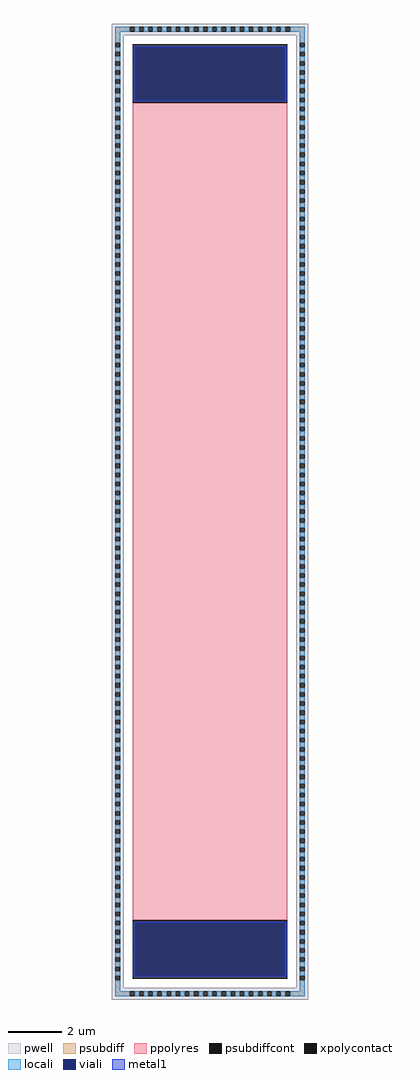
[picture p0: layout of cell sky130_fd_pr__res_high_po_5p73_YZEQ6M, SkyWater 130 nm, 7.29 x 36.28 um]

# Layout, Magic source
magic
tech sky130A
magscale 1 2
<< pwell >>
rect -729 3542 729 3628
rect -729 -3542 -643 3542
rect 643 -3542 729 3542
rect -729 -3628 729 -3542
<< psubdiff >>
rect -703 3568 -595 3602
rect -561 3568 -527 3602
rect -493 3568 -459 3602
rect -425 3568 -391 3602
rect -357 3568 -323 3602
rect -289 3568 -255 3602
rect -221 3568 -187 3602
rect -153 3568 -119 3602
rect -85 3568 -51 3602
rect -17 3568 17 3602
rect 51 3568 85 3602
rect 119 3568 153 3602
rect 187 3568 221 3602
rect 255 3568 289 3602
rect 323 3568 357 3602
rect 391 3568 425 3602
rect 459 3568 493 3602
rect 527 3568 561 3602
rect 595 3568 703 3602
rect -703 3485 -669 3568
rect 669 3485 703 3568
rect -703 3417 -669 3451
rect -703 3349 -669 3383
rect -703 3281 -669 3315
rect -703 3213 -669 3247
rect -703 3145 -669 3179
rect -703 3077 -669 3111
rect -703 3009 -669 3043
rect -703 2941 -669 2975
rect -703 2873 -669 2907
rect -703 2805 -669 2839
rect -703 2737 -669 2771
rect -703 2669 -669 2703
rect -703 2601 -669 2635
rect -703 2533 -669 2567
rect -703 2465 -669 2499
rect -703 2397 -669 2431
rect -703 2329 -669 2363
rect -703 2261 -669 2295
rect -703 2193 -669 2227
rect -703 2125 -669 2159
rect -703 2057 -669 2091
rect -703 1989 -669 2023
rect -703 1921 -669 1955
rect -703 1853 -669 1887
rect -703 1785 -669 1819
rect -703 1717 -669 1751
rect -703 1649 -669 1683
rect -703 1581 -669 1615
rect -703 1513 -669 1547
rect -703 1445 -669 1479
rect -703 1377 -669 1411
rect -703 1309 -669 1343
rect -703 1241 -669 1275
rect -703 1173 -669 1207
rect -703 1105 -669 1139
rect -703 1037 -669 1071
rect -703 969 -669 1003
rect -703 901 -669 935
rect -703 833 -669 867
rect -703 765 -669 799
rect -703 697 -669 731
rect -703 629 -669 663
rect -703 561 -669 595
rect -703 493 -669 527
rect -703 425 -669 459
rect -703 357 -669 391
rect -703 289 -669 323
rect -703 221 -669 255
rect -703 153 -669 187
rect -703 85 -669 119
rect -703 17 -669 51
rect -703 -51 -669 -17
rect -703 -119 -669 -85
rect -703 -187 -669 -153
rect -703 -255 -669 -221
rect -703 -323 -669 -289
rect -703 -391 -669 -357
rect -703 -459 -669 -425
rect -703 -527 -669 -493
rect -703 -595 -669 -561
rect -703 -663 -669 -629
rect -703 -731 -669 -697
rect -703 -799 -669 -765
rect -703 -867 -669 -833
rect -703 -935 -669 -901
rect -703 -1003 -669 -969
rect -703 -1071 -669 -1037
rect -703 -1139 -669 -1105
rect -703 -1207 -669 -1173
rect -703 -1275 -669 -1241
rect -703 -1343 -669 -1309
rect -703 -1411 -669 -1377
rect -703 -1479 -669 -1445
rect -703 -1547 -669 -1513
rect -703 -1615 -669 -1581
rect -703 -1683 -669 -1649
rect -703 -1751 -669 -1717
rect -703 -1819 -669 -1785
rect -703 -1887 -669 -1853
rect -703 -1955 -669 -1921
rect -703 -2023 -669 -1989
rect -703 -2091 -669 -2057
rect -703 -2159 -669 -2125
rect -703 -2227 -669 -2193
rect -703 -2295 -669 -2261
rect -703 -2363 -669 -2329
rect -703 -2431 -669 -2397
rect -703 -2499 -669 -2465
rect -703 -2567 -669 -2533
rect -703 -2635 -669 -2601
rect -703 -2703 -669 -2669
rect -703 -2771 -669 -2737
rect -703 -2839 -669 -2805
rect -703 -2907 -669 -2873
rect -703 -2975 -669 -2941
rect -703 -3043 -669 -3009
rect -703 -3111 -669 -3077
rect -703 -3179 -669 -3145
rect -703 -3247 -669 -3213
rect -703 -3315 -669 -3281
rect -703 -3383 -669 -3349
rect -703 -3451 -669 -3417
rect 669 3417 703 3451
rect 669 3349 703 3383
rect 669 3281 703 3315
rect 669 3213 703 3247
rect 669 3145 703 3179
rect 669 3077 703 3111
rect 669 3009 703 3043
rect 669 2941 703 2975
rect 669 2873 703 2907
rect 669 2805 703 2839
rect 669 2737 703 2771
rect 669 2669 703 2703
rect 669 2601 703 2635
rect 669 2533 703 2567
rect 669 2465 703 2499
rect 669 2397 703 2431
rect 669 2329 703 2363
rect 669 2261 703 2295
rect 669 2193 703 2227
rect 669 2125 703 2159
rect 669 2057 703 2091
rect 669 1989 703 2023
rect 669 1921 703 1955
rect 669 1853 703 1887
rect 669 1785 703 1819
rect 669 1717 703 1751
rect 669 1649 703 1683
rect 669 1581 703 1615
rect 669 1513 703 1547
rect 669 1445 703 1479
rect 669 1377 703 1411
rect 669 1309 703 1343
rect 669 1241 703 1275
rect 669 1173 703 1207
rect 669 1105 703 1139
rect 669 1037 703 1071
rect 669 969 703 1003
rect 669 901 703 935
rect 669 833 703 867
rect 669 765 703 799
rect 669 697 703 731
rect 669 629 703 663
rect 669 561 703 595
rect 669 493 703 527
rect 669 425 703 459
rect 669 357 703 391
rect 669 289 703 323
rect 669 221 703 255
rect 669 153 703 187
rect 669 85 703 119
rect 669 17 703 51
rect 669 -51 703 -17
rect 669 -119 703 -85
rect 669 -187 703 -153
rect 669 -255 703 -221
rect 669 -323 703 -289
rect 669 -391 703 -357
rect 669 -459 703 -425
rect 669 -527 703 -493
rect 669 -595 703 -561
rect 669 -663 703 -629
rect 669 -731 703 -697
rect 669 -799 703 -765
rect 669 -867 703 -833
rect 669 -935 703 -901
rect 669 -1003 703 -969
rect 669 -1071 703 -1037
rect 669 -1139 703 -1105
rect 669 -1207 703 -1173
rect 669 -1275 703 -1241
rect 669 -1343 703 -1309
rect 669 -1411 703 -1377
rect 669 -1479 703 -1445
rect 669 -1547 703 -1513
rect 669 -1615 703 -1581
rect 669 -1683 703 -1649
rect 669 -1751 703 -1717
rect 669 -1819 703 -1785
rect 669 -1887 703 -1853
rect 669 -1955 703 -1921
rect 669 -2023 703 -1989
rect 669 -2091 703 -2057
rect 669 -2159 703 -2125
rect 669 -2227 703 -2193
rect 669 -2295 703 -2261
rect 669 -2363 703 -2329
rect 669 -2431 703 -2397
rect 669 -2499 703 -2465
rect 669 -2567 703 -2533
rect 669 -2635 703 -2601
rect 669 -2703 703 -2669
rect 669 -2771 703 -2737
rect 669 -2839 703 -2805
rect 669 -2907 703 -2873
rect 669 -2975 703 -2941
rect 669 -3043 703 -3009
rect 669 -3111 703 -3077
rect 669 -3179 703 -3145
rect 669 -3247 703 -3213
rect 669 -3315 703 -3281
rect 669 -3383 703 -3349
rect 669 -3451 703 -3417
rect -703 -3568 -669 -3485
rect 669 -3568 703 -3485
rect -703 -3602 -595 -3568
rect -561 -3602 -527 -3568
rect -493 -3602 -459 -3568
rect -425 -3602 -391 -3568
rect -357 -3602 -323 -3568
rect -289 -3602 -255 -3568
rect -221 -3602 -187 -3568
rect -153 -3602 -119 -3568
rect -85 -3602 -51 -3568
rect -17 -3602 17 -3568
rect 51 -3602 85 -3568
rect 119 -3602 153 -3568
rect 187 -3602 221 -3568
rect 255 -3602 289 -3568
rect 323 -3602 357 -3568
rect 391 -3602 425 -3568
rect 459 -3602 493 -3568
rect 527 -3602 561 -3568
rect 595 -3602 703 -3568
<< psubdiffcont >>
rect -595 3568 -561 3602
rect -527 3568 -493 3602
rect -459 3568 -425 3602
rect -391 3568 -357 3602
rect -323 3568 -289 3602
rect -255 3568 -221 3602
rect -187 3568 -153 3602
rect -119 3568 -85 3602
rect -51 3568 -17 3602
rect 17 3568 51 3602
rect 85 3568 119 3602
rect 153 3568 187 3602
rect 221 3568 255 3602
rect 289 3568 323 3602
rect 357 3568 391 3602
rect 425 3568 459 3602
rect 493 3568 527 3602
rect 561 3568 595 3602
rect -703 3451 -669 3485
rect -703 3383 -669 3417
rect -703 3315 -669 3349
rect -703 3247 -669 3281
rect -703 3179 -669 3213
rect -703 3111 -669 3145
rect -703 3043 -669 3077
rect -703 2975 -669 3009
rect -703 2907 -669 2941
rect -703 2839 -669 2873
rect -703 2771 -669 2805
rect -703 2703 -669 2737
rect -703 2635 -669 2669
rect -703 2567 -669 2601
rect -703 2499 -669 2533
rect -703 2431 -669 2465
rect -703 2363 -669 2397
rect -703 2295 -669 2329
rect -703 2227 -669 2261
rect -703 2159 -669 2193
rect -703 2091 -669 2125
rect -703 2023 -669 2057
rect -703 1955 -669 1989
rect -703 1887 -669 1921
rect -703 1819 -669 1853
rect -703 1751 -669 1785
rect -703 1683 -669 1717
rect -703 1615 -669 1649
rect -703 1547 -669 1581
rect -703 1479 -669 1513
rect -703 1411 -669 1445
rect -703 1343 -669 1377
rect -703 1275 -669 1309
rect -703 1207 -669 1241
rect -703 1139 -669 1173
rect -703 1071 -669 1105
rect -703 1003 -669 1037
rect -703 935 -669 969
rect -703 867 -669 901
rect -703 799 -669 833
rect -703 731 -669 765
rect -703 663 -669 697
rect -703 595 -669 629
rect -703 527 -669 561
rect -703 459 -669 493
rect -703 391 -669 425
rect -703 323 -669 357
rect -703 255 -669 289
rect -703 187 -669 221
rect -703 119 -669 153
rect -703 51 -669 85
rect -703 -17 -669 17
rect -703 -85 -669 -51
rect -703 -153 -669 -119
rect -703 -221 -669 -187
rect -703 -289 -669 -255
rect -703 -357 -669 -323
rect -703 -425 -669 -391
rect -703 -493 -669 -459
rect -703 -561 -669 -527
rect -703 -629 -669 -595
rect -703 -697 -669 -663
rect -703 -765 -669 -731
rect -703 -833 -669 -799
rect -703 -901 -669 -867
rect -703 -969 -669 -935
rect -703 -1037 -669 -1003
rect -703 -1105 -669 -1071
rect -703 -1173 -669 -1139
rect -703 -1241 -669 -1207
rect -703 -1309 -669 -1275
rect -703 -1377 -669 -1343
rect -703 -1445 -669 -1411
rect -703 -1513 -669 -1479
rect -703 -1581 -669 -1547
rect -703 -1649 -669 -1615
rect -703 -1717 -669 -1683
rect -703 -1785 -669 -1751
rect -703 -1853 -669 -1819
rect -703 -1921 -669 -1887
rect -703 -1989 -669 -1955
rect -703 -2057 -669 -2023
rect -703 -2125 -669 -2091
rect -703 -2193 -669 -2159
rect -703 -2261 -669 -2227
rect -703 -2329 -669 -2295
rect -703 -2397 -669 -2363
rect -703 -2465 -669 -2431
rect -703 -2533 -669 -2499
rect -703 -2601 -669 -2567
rect -703 -2669 -669 -2635
rect -703 -2737 -669 -2703
rect -703 -2805 -669 -2771
rect -703 -2873 -669 -2839
rect -703 -2941 -669 -2907
rect -703 -3009 -669 -2975
rect -703 -3077 -669 -3043
rect -703 -3145 -669 -3111
rect -703 -3213 -669 -3179
rect -703 -3281 -669 -3247
rect -703 -3349 -669 -3315
rect -703 -3417 -669 -3383
rect -703 -3485 -669 -3451
rect 669 3451 703 3485
rect 669 3383 703 3417
rect 669 3315 703 3349
rect 669 3247 703 3281
rect 669 3179 703 3213
rect 669 3111 703 3145
rect 669 3043 703 3077
rect 669 2975 703 3009
rect 669 2907 703 2941
rect 669 2839 703 2873
rect 669 2771 703 2805
rect 669 2703 703 2737
rect 669 2635 703 2669
rect 669 2567 703 2601
rect 669 2499 703 2533
rect 669 2431 703 2465
rect 669 2363 703 2397
rect 669 2295 703 2329
rect 669 2227 703 2261
rect 669 2159 703 2193
rect 669 2091 703 2125
rect 669 2023 703 2057
rect 669 1955 703 1989
rect 669 1887 703 1921
rect 669 1819 703 1853
rect 669 1751 703 1785
rect 669 1683 703 1717
rect 669 1615 703 1649
rect 669 1547 703 1581
rect 669 1479 703 1513
rect 669 1411 703 1445
rect 669 1343 703 1377
rect 669 1275 703 1309
rect 669 1207 703 1241
rect 669 1139 703 1173
rect 669 1071 703 1105
rect 669 1003 703 1037
rect 669 935 703 969
rect 669 867 703 901
rect 669 799 703 833
rect 669 731 703 765
rect 669 663 703 697
rect 669 595 703 629
rect 669 527 703 561
rect 669 459 703 493
rect 669 391 703 425
rect 669 323 703 357
rect 669 255 703 289
rect 669 187 703 221
rect 669 119 703 153
rect 669 51 703 85
rect 669 -17 703 17
rect 669 -85 703 -51
rect 669 -153 703 -119
rect 669 -221 703 -187
rect 669 -289 703 -255
rect 669 -357 703 -323
rect 669 -425 703 -391
rect 669 -493 703 -459
rect 669 -561 703 -527
rect 669 -629 703 -595
rect 669 -697 703 -663
rect 669 -765 703 -731
rect 669 -833 703 -799
rect 669 -901 703 -867
rect 669 -969 703 -935
rect 669 -1037 703 -1003
rect 669 -1105 703 -1071
rect 669 -1173 703 -1139
rect 669 -1241 703 -1207
rect 669 -1309 703 -1275
rect 669 -1377 703 -1343
rect 669 -1445 703 -1411
rect 669 -1513 703 -1479
rect 669 -1581 703 -1547
rect 669 -1649 703 -1615
rect 669 -1717 703 -1683
rect 669 -1785 703 -1751
rect 669 -1853 703 -1819
rect 669 -1921 703 -1887
rect 669 -1989 703 -1955
rect 669 -2057 703 -2023
rect 669 -2125 703 -2091
rect 669 -2193 703 -2159
rect 669 -2261 703 -2227
rect 669 -2329 703 -2295
rect 669 -2397 703 -2363
rect 669 -2465 703 -2431
rect 669 -2533 703 -2499
rect 669 -2601 703 -2567
rect 669 -2669 703 -2635
rect 669 -2737 703 -2703
rect 669 -2805 703 -2771
rect 669 -2873 703 -2839
rect 669 -2941 703 -2907
rect 669 -3009 703 -2975
rect 669 -3077 703 -3043
rect 669 -3145 703 -3111
rect 669 -3213 703 -3179
rect 669 -3281 703 -3247
rect 669 -3349 703 -3315
rect 669 -3417 703 -3383
rect 669 -3485 703 -3451
rect -595 -3602 -561 -3568
rect -527 -3602 -493 -3568
rect -459 -3602 -425 -3568
rect -391 -3602 -357 -3568
rect -323 -3602 -289 -3568
rect -255 -3602 -221 -3568
rect -187 -3602 -153 -3568
rect -119 -3602 -85 -3568
rect -51 -3602 -17 -3568
rect 17 -3602 51 -3568
rect 85 -3602 119 -3568
rect 153 -3602 187 -3568
rect 221 -3602 255 -3568
rect 289 -3602 323 -3568
rect 357 -3602 391 -3568
rect 425 -3602 459 -3568
rect 493 -3602 527 -3568
rect 561 -3602 595 -3568
<< xpolycontact >>
rect -573 3040 573 3472
rect -573 -3472 573 -3040
<< ppolyres >>
rect -573 -3040 573 3040
<< locali >>
rect -703 3568 -595 3602
rect -561 3568 -527 3602
rect -493 3568 -459 3602
rect -425 3568 -391 3602
rect -357 3568 -323 3602
rect -289 3568 -255 3602
rect -221 3568 -187 3602
rect -153 3568 -119 3602
rect -85 3568 -51 3602
rect -17 3568 17 3602
rect 51 3568 85 3602
rect 119 3568 153 3602
rect 187 3568 221 3602
rect 255 3568 289 3602
rect 323 3568 357 3602
rect 391 3568 425 3602
rect 459 3568 493 3602
rect 527 3568 561 3602
rect 595 3568 703 3602
rect -703 3485 -669 3568
rect 669 3485 703 3568
rect -703 3417 -669 3451
rect -703 3349 -669 3383
rect -703 3281 -669 3315
rect -703 3213 -669 3247
rect -703 3145 -669 3179
rect -703 3077 -669 3111
rect -703 3009 -669 3043
rect 669 3417 703 3451
rect 669 3349 703 3383
rect 669 3281 703 3315
rect 669 3213 703 3247
rect 669 3145 703 3179
rect 669 3077 703 3111
rect -703 2941 -669 2975
rect -703 2873 -669 2907
rect -703 2805 -669 2839
rect -703 2737 -669 2771
rect -703 2669 -669 2703
rect -703 2601 -669 2635
rect -703 2533 -669 2567
rect -703 2465 -669 2499
rect -703 2397 -669 2431
rect -703 2329 -669 2363
rect -703 2261 -669 2295
rect -703 2193 -669 2227
rect -703 2125 -669 2159
rect -703 2057 -669 2091
rect -703 1989 -669 2023
rect -703 1921 -669 1955
rect -703 1853 -669 1887
rect -703 1785 -669 1819
rect -703 1717 -669 1751
rect -703 1649 -669 1683
rect -703 1581 -669 1615
rect -703 1513 -669 1547
rect -703 1445 -669 1479
rect -703 1377 -669 1411
rect -703 1309 -669 1343
rect -703 1241 -669 1275
rect -703 1173 -669 1207
rect -703 1105 -669 1139
rect -703 1037 -669 1071
rect -703 969 -669 1003
rect -703 901 -669 935
rect -703 833 -669 867
rect -703 765 -669 799
rect -703 697 -669 731
rect -703 629 -669 663
rect -703 561 -669 595
rect -703 493 -669 527
rect -703 425 -669 459
rect -703 357 -669 391
rect -703 289 -669 323
rect -703 221 -669 255
rect -703 153 -669 187
rect -703 85 -669 119
rect -703 17 -669 51
rect -703 -51 -669 -17
rect -703 -119 -669 -85
rect -703 -187 -669 -153
rect -703 -255 -669 -221
rect -703 -323 -669 -289
rect -703 -391 -669 -357
rect -703 -459 -669 -425
rect -703 -527 -669 -493
rect -703 -595 -669 -561
rect -703 -663 -669 -629
rect -703 -731 -669 -697
rect -703 -799 -669 -765
rect -703 -867 -669 -833
rect -703 -935 -669 -901
rect -703 -1003 -669 -969
rect -703 -1071 -669 -1037
rect -703 -1139 -669 -1105
rect -703 -1207 -669 -1173
rect -703 -1275 -669 -1241
rect -703 -1343 -669 -1309
rect -703 -1411 -669 -1377
rect -703 -1479 -669 -1445
rect -703 -1547 -669 -1513
rect -703 -1615 -669 -1581
rect -703 -1683 -669 -1649
rect -703 -1751 -669 -1717
rect -703 -1819 -669 -1785
rect -703 -1887 -669 -1853
rect -703 -1955 -669 -1921
rect -703 -2023 -669 -1989
rect -703 -2091 -669 -2057
rect -703 -2159 -669 -2125
rect -703 -2227 -669 -2193
rect -703 -2295 -669 -2261
rect -703 -2363 -669 -2329
rect -703 -2431 -669 -2397
rect -703 -2499 -669 -2465
rect -703 -2567 -669 -2533
rect -703 -2635 -669 -2601
rect -703 -2703 -669 -2669
rect -703 -2771 -669 -2737
rect -703 -2839 -669 -2805
rect -703 -2907 -669 -2873
rect -703 -2975 -669 -2941
rect -703 -3043 -669 -3009
rect 669 3009 703 3043
rect 669 2941 703 2975
rect 669 2873 703 2907
rect 669 2805 703 2839
rect 669 2737 703 2771
rect 669 2669 703 2703
rect 669 2601 703 2635
rect 669 2533 703 2567
rect 669 2465 703 2499
rect 669 2397 703 2431
rect 669 2329 703 2363
rect 669 2261 703 2295
rect 669 2193 703 2227
rect 669 2125 703 2159
rect 669 2057 703 2091
rect 669 1989 703 2023
rect 669 1921 703 1955
rect 669 1853 703 1887
rect 669 1785 703 1819
rect 669 1717 703 1751
rect 669 1649 703 1683
rect 669 1581 703 1615
rect 669 1513 703 1547
rect 669 1445 703 1479
rect 669 1377 703 1411
rect 669 1309 703 1343
rect 669 1241 703 1275
rect 669 1173 703 1207
rect 669 1105 703 1139
rect 669 1037 703 1071
rect 669 969 703 1003
rect 669 901 703 935
rect 669 833 703 867
rect 669 765 703 799
rect 669 697 703 731
rect 669 629 703 663
rect 669 561 703 595
rect 669 493 703 527
rect 669 425 703 459
rect 669 357 703 391
rect 669 289 703 323
rect 669 221 703 255
rect 669 153 703 187
rect 669 85 703 119
rect 669 17 703 51
rect 669 -51 703 -17
rect 669 -119 703 -85
rect 669 -187 703 -153
rect 669 -255 703 -221
rect 669 -323 703 -289
rect 669 -391 703 -357
rect 669 -459 703 -425
rect 669 -527 703 -493
rect 669 -595 703 -561
rect 669 -663 703 -629
rect 669 -731 703 -697
rect 669 -799 703 -765
rect 669 -867 703 -833
rect 669 -935 703 -901
rect 669 -1003 703 -969
rect 669 -1071 703 -1037
rect 669 -1139 703 -1105
rect 669 -1207 703 -1173
rect 669 -1275 703 -1241
rect 669 -1343 703 -1309
rect 669 -1411 703 -1377
rect 669 -1479 703 -1445
rect 669 -1547 703 -1513
rect 669 -1615 703 -1581
rect 669 -1683 703 -1649
rect 669 -1751 703 -1717
rect 669 -1819 703 -1785
rect 669 -1887 703 -1853
rect 669 -1955 703 -1921
rect 669 -2023 703 -1989
rect 669 -2091 703 -2057
rect 669 -2159 703 -2125
rect 669 -2227 703 -2193
rect 669 -2295 703 -2261
rect 669 -2363 703 -2329
rect 669 -2431 703 -2397
rect 669 -2499 703 -2465
rect 669 -2567 703 -2533
rect 669 -2635 703 -2601
rect 669 -2703 703 -2669
rect 669 -2771 703 -2737
rect 669 -2839 703 -2805
rect 669 -2907 703 -2873
rect 669 -2975 703 -2941
rect -703 -3111 -669 -3077
rect -703 -3179 -669 -3145
rect -703 -3247 -669 -3213
rect -703 -3315 -669 -3281
rect -703 -3383 -669 -3349
rect -703 -3451 -669 -3417
rect 669 -3043 703 -3009
rect 669 -3111 703 -3077
rect 669 -3179 703 -3145
rect 669 -3247 703 -3213
rect 669 -3315 703 -3281
rect 669 -3383 703 -3349
rect 669 -3451 703 -3417
rect -703 -3568 -669 -3485
rect 669 -3568 703 -3485
rect -703 -3602 -595 -3568
rect -561 -3602 -527 -3568
rect -493 -3602 -459 -3568
rect -425 -3602 -391 -3568
rect -357 -3602 -323 -3568
rect -289 -3602 -255 -3568
rect -221 -3602 -187 -3568
rect -153 -3602 -119 -3568
rect -85 -3602 -51 -3568
rect -17 -3602 17 -3568
rect 51 -3602 85 -3568
rect 119 -3602 153 -3568
rect 187 -3602 221 -3568
rect 255 -3602 289 -3568
rect 323 -3602 357 -3568
rect 391 -3602 425 -3568
rect 459 -3602 493 -3568
rect 527 -3602 561 -3568
rect 595 -3602 703 -3568
<< viali >>
rect -557 3058 557 3452
rect -557 -3453 557 -3059
<< metal1 >>
rect -569 3452 569 3460
rect -569 3058 -557 3452
rect 557 3058 569 3452
rect -569 3051 569 3058
rect -569 -3059 569 -3051
rect -569 -3453 -557 -3059
rect 557 -3453 569 -3059
rect -569 -3460 569 -3453
<< properties >>
string FIXED_BBOX -686 -3585 686 3585
<< end >>
